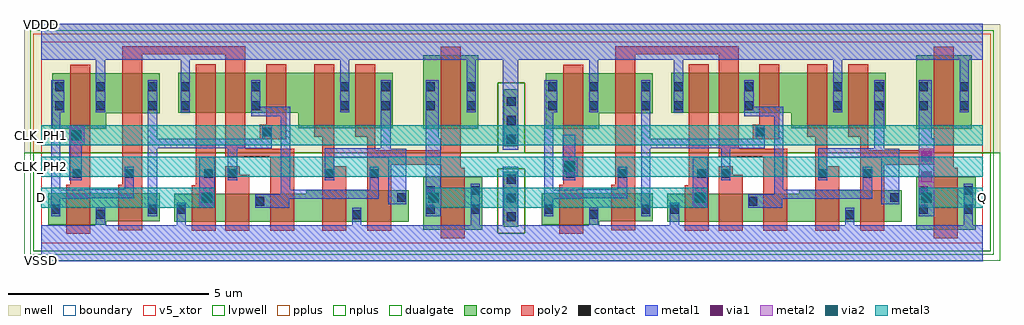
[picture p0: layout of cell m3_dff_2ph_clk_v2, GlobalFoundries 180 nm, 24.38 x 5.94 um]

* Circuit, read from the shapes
.subckt m3_dff_2ph_clk_v2 CLK_PH1 CLK_PH2 D Q VDDD VSSD
XM1 VSSD CLK_PH1 n1 VSSD nfet_05v0 w=0.79u l=0.6u
XM2 n2 n1 VSSD VSSD nfet_05v0 w=0.7u l=0.6u
XM3 n3 D VSSD VSSD nfet_05v0 w=0.7u l=0.6u
XM4 n4 n2 n3 VSSD nfet_05v0 w=0.7u l=0.6u
XM5 n5 n1 n4 VSSD nfet_05v0 w=0.7u l=0.6u
XM6 VSSD n6 n5 VSSD nfet_05v0 w=0.79u l=0.6u
XM7 n6 n4 VSSD VSSD nfet_05v0 w=0.79u l=0.6u
XM8 VSSD n4 gf180mcu_fd_sc_mcu9t5v0__latq_1_2/D VSSD nfet_05v0 w=1.32u l=0.6u
XM9 VSSD CLK_PH2 n7 VSSD nfet_05v0 w=0.79u l=0.6u
XM10 n8 n7 VSSD VSSD nfet_05v0 w=0.7u l=0.6u
XM11 n9 gf180mcu_fd_sc_mcu9t5v0__latq_1_2/D VSSD VSSD nfet_05v0 w=0.7u l=0.6u
XM12 n10 n8 n9 VSSD nfet_05v0 w=0.7u l=0.6u
XM13 n11 n7 n10 VSSD nfet_05v0 w=0.7u l=0.6u
XM14 VSSD n12 n11 VSSD nfet_05v0 w=0.79u l=0.6u
XM15 n12 n10 VSSD VSSD nfet_05v0 w=0.79u l=0.6u
XM16 VSSD n10 Q VSSD nfet_05v0 w=1.32u l=0.6u
XM17 VDDD CLK_PH1 n1 VDDD pfet_05v0 w=1.38u l=0.5u
XM18 n2 n1 VDDD VDDD pfet_05v0 w=1u l=0.5u
XM19 n13 D VDDD VDDD pfet_05v0 w=1u l=0.5u
XM20 n4 n1 n13 VDDD pfet_05v0 w=1u l=0.5u
XM21 n14 n2 n4 VDDD pfet_05v0 w=1u l=0.5u
XM22 VDDD n6 n14 VDDD pfet_05v0 w=1.38u l=0.5u
XM23 n6 n4 VDDD VDDD pfet_05v0 w=1.38u l=0.5u
XM24 VDDD n4 gf180mcu_fd_sc_mcu9t5v0__latq_1_2/D VDDD pfet_05v0 w=1.83u l=0.5u
XM25 VDDD CLK_PH2 n7 VDDD pfet_05v0 w=1.38u l=0.5u
XM26 n8 n7 VDDD VDDD pfet_05v0 w=1u l=0.5u
XM27 n15 gf180mcu_fd_sc_mcu9t5v0__latq_1_2/D VDDD VDDD pfet_05v0 w=1u l=0.5u
XM28 n10 n7 n15 VDDD pfet_05v0 w=1u l=0.5u
XM29 n16 n8 n10 VDDD pfet_05v0 w=1u l=0.5u
XM30 VDDD n12 n16 VDDD pfet_05v0 w=1.38u l=0.5u
XM31 n12 n10 VDDD VDDD pfet_05v0 w=1.38u l=0.5u
XM32 VDDD n10 Q VDDD pfet_05v0 w=1.83u l=0.5u
.ends

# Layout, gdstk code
import gdstk
lib = gdstk.Library(unit=1e-6, precision=5e-09)
def R(c, l, rs):  # rectangles x0, y0, x1, y1
    for r in rs: c.add(gdstk.rectangle(r[:2], r[2:], *l))
def A(c, l, x, y, w, h, nx, ny, dx, dy):  # array of equal rectangles
    R(c, l, [(x+i*dx, y+j*dy, x+i*dx+w, y+j*dy+h) for i in range(nx) for j in range(ny)])
def P(c, l, *ps):  # polygons
    for p in ps: c.add(gdstk.Polygon(p, *l))
boundary = (0, 0)
nwell = (21, 0)
comp = (22, 0)
poly2 = (30, 0)
pplus = (31, 0)
nplus = (32, 0)
contact = (33, 0)
metal1 = (34, 0)
via1 = (35, 0)
metal2 = (36, 0)
via2 = (38, 0)
metal3 = (42, 0)
dualgate = (55, 0)
v5_xtor = (112, 1)
lvpwell = (204, 0)

gf180mcu_fd_sc_mcu9t5v0_ = lib.new_cell('gf180mcu_fd_sc_mcu9t5v0__latq_1')
R(gf180mcu_fd_sc_mcu9t5v0_, boundary, [(0,0,11.2,5.04)])
R(gf180mcu_fd_sc_mcu9t5v0_, nwell, [(-0.43,2.265,11.63,5.47)])
R(gf180mcu_fd_sc_mcu9t5v0_, comp, [(9.54,0.345,11.02,1.665), (9.54,2.865,10.92,4.695)])
P(gf180mcu_fd_sc_mcu9t5v0_, comp, [(0.18,0.46),(0.18,1.25),(2.96,1.25),(2.96,0.55),(1.62,0.55),(1.62,0.46)],
  [(0.28,2.865),(0.28,4.245),(2.96,4.245),(2.96,3.245),(1.62,3.245),(1.62,2.865)],
  [(6.42,2.88),(6.42,3.26),(3.42,3.26),(3.42,4.26),(8.78,4.26),(8.78,2.88)],
  [(3.32,0.535),(3.32,1.235),(6.62,1.235),(6.62,1.325),(9.18,1.325),(9.18,0.535)])
P(gf180mcu_fd_sc_mcu9t5v0_, poly2, [(0.62,0.24),(0.62,1.47),(0.72,1.47),(0.72,4.465),(1.22,4.465),(1.22,0.24)],
  [(3.76,0.315),(3.76,1.455),(3.86,1.455),(3.86,4.48),(4.36,4.48),(4.36,0.315)],
  [(4.6,0.315),(4.6,1.925),(4.96,1.925),(4.96,1.715),(5.2,1.715),(5.2,0.315)],
  [(5.46,2.6),(5.46,2.96),(5.62,2.96),(5.62,4.48),(6.12,4.48),(6.12,3.04),(6.115,3.04),(6.115,2.6)],
  [(5.72,0.315),(5.72,2.16),(5.055,2.16),(5.055,2.165),(4.6,2.165),(4.6,4.72),(2.52,4.72),(2.52,0.33),(1.92,0.33),(1.92,1.47),(2.02,1.47),(2.02,4.92),(5.1,4.92),(5.1,2.36),(6.32,2.36),(6.32,0.315)],
  [(7.02,0.315),(7.02,2.66),(6.82,2.66),(6.82,4.48),(7.32,4.48),(7.32,1.925),(7.62,1.925),(7.62,0.315)],
  [(9.98,0.125),(9.98,1.965),(8.74,1.965),(8.74,0.315),(8.14,0.315),(8.14,2.66),(7.84,2.66),(7.84,4.48),(8.34,4.48),(8.34,2.325),(9.98,2.325),(9.98,4.915),(10.48,4.915),(10.48,1.885),(10.58,1.885),(10.58,0.125)])
R(gf180mcu_fd_sc_mcu9t5v0_, pplus, [(-0.2,2.265,11.4,5.24)])
R(gf180mcu_fd_sc_mcu9t5v0_, nplus, [(-0.2,-0.2,11.4,2.265)])
R(gf180mcu_fd_sc_mcu9t5v0_, contact, [(7.77,0.605,7.99,0.825), (1.37,0.615,1.59,0.835), (0.25,0.74,0.47,0.96), (2.67,0.74,2.89,0.96), (3.39,0.74,3.61,0.96), (9.61,0.74,9.83,0.96), (10.73,0.74,10.95,0.96), (5.35,0.945,5.57,1.165), (8.89,1.035,9.11,1.255), (9.61,1.21,9.83,1.43), (10.73,1.21,10.95,1.43), (0.79,1.635,1.01,1.855), (2.09,1.635,2.31,1.855), (4.07,1.635,4.29,1.855), (4.67,1.635,4.89,1.855), (7.09,1.635,7.31,1.855), (8.21,1.635,8.43,1.855), (5.53,2.67,5.75,2.89), (0.35,3.33,0.57,3.55), (1.37,3.33,1.59,3.55), (2.67,3.33,2.89,3.55), (3.49,3.33,3.71,3.55), (5.25,3.33,5.47,3.55), (7.47,3.33,7.69,3.55), (8.49,3.33,8.71,3.55), (9.61,3.33,9.83,3.55), (10.63,3.33,10.85,3.55), (0.35,3.8,0.57,4.02), (1.37,3.8,1.59,4.02), (2.67,3.8,2.89,4.02), (3.49,3.8,3.71,4.02), (5.25,3.8,5.47,4.02), (7.47,3.8,7.69,4.02), (8.49,3.8,8.71,4.02), (9.61,3.8,9.83,4.02), (10.63,3.8,10.85,4.02)])
R(gf180mcu_fd_sc_mcu9t5v0_, metal1, [(9.605,0.68,9.93,4.08), (4.065,1.21,4.33,2.15), (0.71,1.575,1.015,2.71)])
P(gf180mcu_fd_sc_mcu9t5v0_, metal1, [(0.245,0.68),(0.245,4.08),(0.575,4.08),(0.575,3.27),(0.475,3.27),(0.475,1.345),(1.085,1.345),(1.085,1.355),(2.085,1.355),(2.085,1.915),(2.315,1.915),(2.315,1.125),(1.155,1.125),(1.155,1.115),(0.475,1.115),(0.475,0.68)],
  [(2.665,0.68),(2.665,4.08),(2.895,4.08),(2.895,2.61),(5.525,2.61),(5.525,2.95),(5.755,2.95),(5.755,2.38),(4.895,2.38),(4.895,1.575),(4.665,1.575),(4.665,2.38),(2.895,2.38),(2.895,0.68)],
  [(5.345,0.885),(5.345,1.225),(5.985,1.225),(5.985,3.18),(5.245,3.18),(5.245,4.08),(5.475,4.08),(5.475,3.41),(6.215,3.41),(6.215,1.345),(8.205,1.345),(8.205,1.915),(8.435,1.915),(8.435,1.115),(6.19,1.115),(6.19,0.885)],
  [(8.665,0.975),(8.665,2.145),(7.315,2.145),(7.315,1.575),(7.085,1.575),(7.085,2.375),(8.485,2.375),(8.485,4.08),(8.735,4.08),(8.735,2.365),(9.115,2.365),(9.115,0.975)],
  [(0,-0.45),(0,0.45),(1.365,0.45),(1.365,0.895),(1.595,0.895),(1.595,0.45),(3.385,0.45),(3.385,1.02),(3.615,1.02),(3.615,0.45),(7.765,0.45),(7.765,0.885),(7.995,0.885),(7.995,0.45),(10.725,0.45),(10.725,1.49),(10.955,1.49),(10.955,0.45),(11.2,0.45),(11.2,-0.45)],
  [(1.365,3.27),(1.365,4.59),(0,4.59),(0,5.49),(11.2,5.49),(11.2,4.59),(10.855,4.59),(10.855,3.27),(10.625,3.27),(10.625,4.59),(7.695,4.59),(7.695,3.27),(7.465,3.27),(7.465,4.59),(3.715,4.59),(3.715,3.27),(3.485,3.27),(3.485,4.59),(1.595,4.59),(1.595,3.27)])
R(gf180mcu_fd_sc_mcu9t5v0_, dualgate, [(-0.28,-0.28,11.48,5.32)])
R(gf180mcu_fd_sc_mcu9t5v0_, v5_xtor, [(0,0,11.2,5.04)])
R(gf180mcu_fd_sc_mcu9t5v0_, lvpwell, [(-0.43,-0.43,11.63,2.265)])
gf180mcu_fd_sc_mcu9t5v0_.add(gdstk.Label('D', (4.2,1.4), layer=34, texttype=10))
gf180mcu_fd_sc_mcu9t5v0_.add(gdstk.Label('E', (0.84,1.96), layer=34, texttype=10))
gf180mcu_fd_sc_mcu9t5v0_.add(gdstk.Label('Q', (9.8,2.52), layer=34, texttype=10))
gf180mcu_fd_sc_mcu9t5v0_.add(gdstk.Label('VDD', (5.6,5.49), layer=34, texttype=10))
gf180mcu_fd_sc_mcu9t5v0_.add(gdstk.Label('VSS', (5.6,-0.45), layer=34, texttype=10))
gf180mcu_fd_sc_mcu9t5v0_.add(gdstk.Label('& Vendor GLOBALFOUNDRIES', (0,2), layer=63, texttype=63))
gf180mcu_fd_sc_mcu9t5v0_.add(gdstk.Label('& Product GF018hv5v_green_sc9', (0,1.5), layer=63, texttype=63))
gf180mcu_fd_sc_mcu9t5v0_.add(gdstk.Label('& Version 2015q2v2', (0,1), layer=63, texttype=63))
gf180mcu_fd_sc_mcu9t5v0_.add(gdstk.Label('& Metric 1.00', (0,0.5), layer=63, texttype=63))
gf180mcu_fd_sc_mcu9t5v0_.add(gdstk.Label('VNW', (0.345,3.92), layer=21, texttype=10))
gf180mcu_fd_sc_mcu9t5v0_.add(gdstk.Label('VPW', (0.34,-0.085), layer=204, texttype=10))

c_gf180mcu_fd_sc_mcu9t5v0_ = lib.new_cell('gf180mcu_fd_sc_mcu9t5v0__filltie')
R(c_gf180mcu_fd_sc_mcu9t5v0_, boundary, [(0,0,1.12,5.04)])
R(c_gf180mcu_fd_sc_mcu9t5v0_, nwell, [(-0.43,2.265,1.55,5.47)])
R(c_gf180mcu_fd_sc_mcu9t5v0_, comp, [(0.36,0.41,0.72,1.785), (0.36,2.425,0.72,3.855)])
R(c_gf180mcu_fd_sc_mcu9t5v0_, pplus, [(0.2,0.25,0.88,1.865)])
P(c_gf180mcu_fd_sc_mcu9t5v0_, pplus, [(-0.2,2.265),(-0.2,5.24),(1.32,5.24),(1.32,2.265),(0.88,2.265),(0.88,4.015),(0.2,4.015),(0.2,2.265)])
P(c_gf180mcu_fd_sc_mcu9t5v0_, nplus, [(-0.2,-0.2),(-0.2,2.265),(0.2,2.265),(0.2,4.015),(0.88,4.015),(0.88,1.865),(0.2,1.865),(0.2,0.25),(0.88,0.25),(0.88,4.015),(0.88,2.265),(1.32,2.265),(1.32,-0.2)])
A(c_gf180mcu_fd_sc_mcu9t5v0_, contact, 0.43, 0.555, 0.22, 0.22, 1, 3, 0, 0.47)
A(c_gf180mcu_fd_sc_mcu9t5v0_, contact, 0.43, 2.495, 0.22, 0.22, 1, 3, 0, 0.47)
P(c_gf180mcu_fd_sc_mcu9t5v0_, metal1, [(0,-0.45),(0,0.45),(0.33,0.45),(0.33,1.91),(0.71,1.91),(0.71,0.45),(1.12,0.45),(1.12,-0.45)],
  [(0.33,2.34),(0.33,4.59),(0,4.59),(0,5.49),(1.12,5.49),(1.12,4.59),(0.71,4.59),(0.71,2.34)])
R(c_gf180mcu_fd_sc_mcu9t5v0_, dualgate, [(-0.28,-0.28,1.4,5.32)])
R(c_gf180mcu_fd_sc_mcu9t5v0_, v5_xtor, [(0,0,1.12,5.04)])
R(c_gf180mcu_fd_sc_mcu9t5v0_, lvpwell, [(-0.43,-0.43,1.55,2.265)])
c_gf180mcu_fd_sc_mcu9t5v0_.add(gdstk.Label('VSS', (0.56,-0.45), layer=34, texttype=10))
c_gf180mcu_fd_sc_mcu9t5v0_.add(gdstk.Label('VDD', (0.56,5.49), layer=34, texttype=10))
c_gf180mcu_fd_sc_mcu9t5v0_.add(gdstk.Label('& Vendor GLOBALFOUNDRIES', (0,2), layer=63, texttype=63))
c_gf180mcu_fd_sc_mcu9t5v0_.add(gdstk.Label('& Product GF018hv5v_green_sc9', (0,1.5), layer=63, texttype=63))
c_gf180mcu_fd_sc_mcu9t5v0_.add(gdstk.Label('& Version 2015q2v2', (0,1), layer=63, texttype=63))
c_gf180mcu_fd_sc_mcu9t5v0_.add(gdstk.Label('& Metric 1.00', (0,0.5), layer=63, texttype=63))

m3_dff_2ph_clk_v2 = lib.new_cell('m3_dff_2ph_clk_v2')
R(m3_dff_2ph_clk_v2, metal1, [(-10.08,-5.49,13.44,-4.59), (-0.475,-4.36,-0.095,-2.42), (11.845,-4.36,12.225,-2.42), (-6.13,-4.15,-5.75,-2.89), (6.19,-4.15,6.57,-2.89), (-9.375,-3.465,-9.065,-2.09), (2.945,-3.465,3.255,-2.33), (3.255,-3.37,3.325,-2.87), (-9.065,-2.59,-8.995,-2.09), (-10.08,-0.45,13.44,0.45)])
A(m3_dff_2ph_clk_v2, via1, 11.905, -4.03, 0.26, 0.26, 1, 3, 0, 0.52)
R(m3_dff_2ph_clk_v2, via1, [(-6.07,-4.03,-5.81,-3.77), (-0.415,-4.03,-0.155,-3.77), (6.25,-4.03,6.51,-3.77), (2.985,-3.25,3.245,-2.99), (-9.335,-2.47,-9.075,-2.21)])
R(m3_dff_2ph_clk_v2, metal2, [(-6.13,-4.15,-5.75,-3.65), (-0.475,-4.15,-0.095,-3.65), (6.19,-4.15,6.57,-3.65), (11.845,-4.15,12.225,-2.67), (2.945,-3.37,3.325,-2.87), (-9.375,-2.59,-8.995,-2.09)])
R(m3_dff_2ph_clk_v2, via2, [(-6.07,-4.03,-5.81,-3.77), (-0.415,-4.03,-0.155,-3.77), (6.25,-4.03,6.51,-3.77), (11.905,-4.03,12.165,-3.77), (2.985,-3.25,3.245,-2.99), (-9.335,-2.47,-9.075,-2.21)])
m3_dff_2ph_clk_v2.add(gdstk.FlexPath([(-10.08,-3.12),(13.44,-3.12)], 0.5, ends="flush", simple_path=True, layer=42, datatype=0))  # metal3
m3_dff_2ph_clk_v2.add(gdstk.FlexPath([(-0.475,-3.9),(6.57,-3.9)], 0.5, ends="flush", simple_path=True, layer=42, datatype=0))  # metal3
m3_dff_2ph_clk_v2.add(gdstk.FlexPath([(-10.08,-3.9),(-5.75,-3.9)], 0.5, ends="flush", simple_path=True, layer=42, datatype=0))  # metal3
m3_dff_2ph_clk_v2.add(gdstk.FlexPath([(11.845,-3.9),(13.44,-3.9)], 0.5, ends="flush", simple_path=True, layer=42, datatype=0))  # metal3
m3_dff_2ph_clk_v2.add(gdstk.FlexPath([(-10.08,-2.34),(13.44,-2.34)], 0.5, ends="flush", simple_path=True, layer=42, datatype=0))  # metal3
m3_dff_2ph_clk_v2.add(gdstk.Reference(gf180mcu_fd_sc_mcu9t5v0_, (-10.08,-5.04)))
m3_dff_2ph_clk_v2.add(gdstk.Reference(c_gf180mcu_fd_sc_mcu9t5v0_, (1.12,-5.04)))
m3_dff_2ph_clk_v2.add(gdstk.Reference(gf180mcu_fd_sc_mcu9t5v0_, (2.24,-5.04)))
m3_dff_2ph_clk_v2.add(gdstk.Label('VSSD', (-10.07,-5.48), layer=34, texttype=10))
m3_dff_2ph_clk_v2.add(gdstk.Label('VDDD', (-10.07,0.44), layer=34, texttype=10))
m3_dff_2ph_clk_v2.add(gdstk.Label('Q', (13.425,-3.9), layer=42, texttype=10))
m3_dff_2ph_clk_v2.add(gdstk.Label('CLK_PH1', (-10.065,-2.34), layer=42, texttype=10))
m3_dff_2ph_clk_v2.add(gdstk.Label('CLK_PH2', (-10.065,-3.12), layer=42, texttype=10))
m3_dff_2ph_clk_v2.add(gdstk.Label('D', (-10.065,-3.9), layer=42, texttype=10))

lib.write_gds('m3_dff_2ph_clk_v2.gds')
